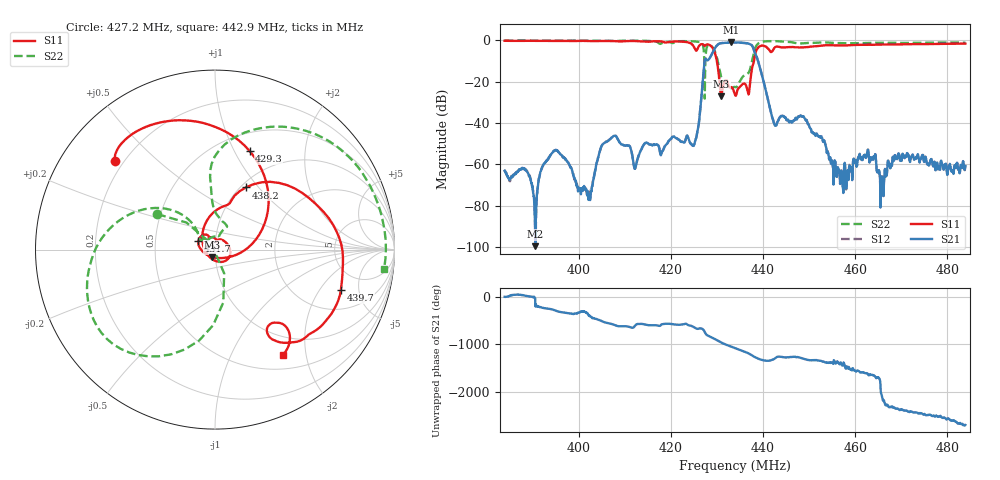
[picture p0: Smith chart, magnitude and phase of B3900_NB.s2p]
! Matrix data file written by TouchstoneData, EPCOS AG
! FILENAME: "B3900_NB.s2p"
! COMMENT: "NWA-Port1 : 98.0ps NWA-Port2 : 98.0ps PCB2031"
! INFO: nport=2, nfreq=1601
! DATE: "Wed Nov 1 2012"
! USER: "Hiroshi Tanaka"
! port | pin | signal
!  1  |  2  |  in
!  2  |  5  |  out
# MHZ S MA R 50
! freq  magS11 angS11  magS21 angS21  magS12 angS12  magS22 angS22
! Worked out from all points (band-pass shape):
!   1601 points, 383.9 MHz to 483.9 MHz, reference 50 ohm
!   highest |S21| = -1.05 dB at 433 MHz (marker M1); lowest = -99.6 dB at 390.6 MHz (marker M2)
!   |S21| within 3 dB of the highest: 429.5 MHz to 437.9 MHz (8.385 MHz wide, 1.93 % of centre)
!   lowest |S11| = -27.1 dB at 430.9 MHz (marker M3), VSWR 1.09, Z = 48.4 - j4.03 ohm
!   |S11| at or under -10 dB: 430 MHz to 438 MHz (8.063 MHz wide, 1.86 % of centre)
!   |S22| runs from -28.3 to -0.1 dB; largest |S21 - S12| = 0.0052
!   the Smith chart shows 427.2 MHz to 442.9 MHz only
!   S11 on the Smith chart (normalised r, x): 427.2 MHz: 0.17, +0.37; 429.3 MHz: 0.69, +1.15; 431.7 MHz: 0.83, +0.08; 438.2 MHz: 1.06, +0.86; 439.7 MHz: 3.28, -3.22; 442.9 MHz: 0.70, -1.60
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383.92  0.968 -129.1  0.0006983 -5.5  0.0007281 -5.4  0.9822 -60.9
390.6075  0.9634 -132.6  1.049e-05 153.5  1.747e-05 -61.2  0.9837 -63.8
394.92  0.9617 -135.1  0.002171 66.9  0.00218 68.0  0.974 -65.6
400.6075  0.963 -139.1  0.0002337 46.7  0.0002541 41.1  0.984 -69.2
407.545  0.9529 -146.6  0.004789 133.2  0.00483 132.8  0.9556 -74.8
412.2325  0.9539 -153.1  0.0007812 108.6  0.0008112 109.2  0.9785 -80.3
417.295  0.9443 -163.7  0.00281 108.7  0.002822 108.5  0.8669 -93.9
425.045  0.6775 148.7  0.002966 75.0  0.003021 75.1  0.9387 -124.1
427.2325  0.7442 138.6  0.2561 -2.7  0.2575 -2.7  0.3776 148.4
429.295  0.583 70.7  0.5611 -159.0  0.5641 -159.1  0.6156 171.4
430.92  0.04418 -109.9  0.8468 113.8  0.851 113.7  0.1295 136.9
431.7325  0.1042 152.8  0.8639 79.1  0.8687 79.1  0.09196 148.7
432.9825  0.07378 115.5  0.8858 32.4  0.8906 32.4  0.06867 116.0
433.92  0.04806 78.8  0.8719 -0.7  0.8766 -0.7  0.07397 76.1
436.2325  0.084 -50.0  0.8515 -86.3  0.8559 -86.3  0.1472 62.9
438.17  0.3865 63.6  0.5216 172.4  0.5244 172.4  0.59 84.5
439.67  0.7365 -17.7  0.1578 110.8  0.1586 110.7  0.909 34.2
442.8575  0.6978 -57.2  0.008629 160.1  0.008678 160.4  0.9481 -6.5
450.6075  0.7013 -86.3  0.005927 103.2  0.005934 103.3  0.8581 -30.5
457.045  0.7467 -97.2  0.0006355 20.6  0.0006383 21.2  0.8448 -39.3
467.295  0.7901 -104.6  0.001068 -162.4  0.001083 -160.9  0.8666 -44.6
483.92  0.8271 -111.5  0.0009116 -178.0  0.0009057 -178.4  0.8725 -49.4
